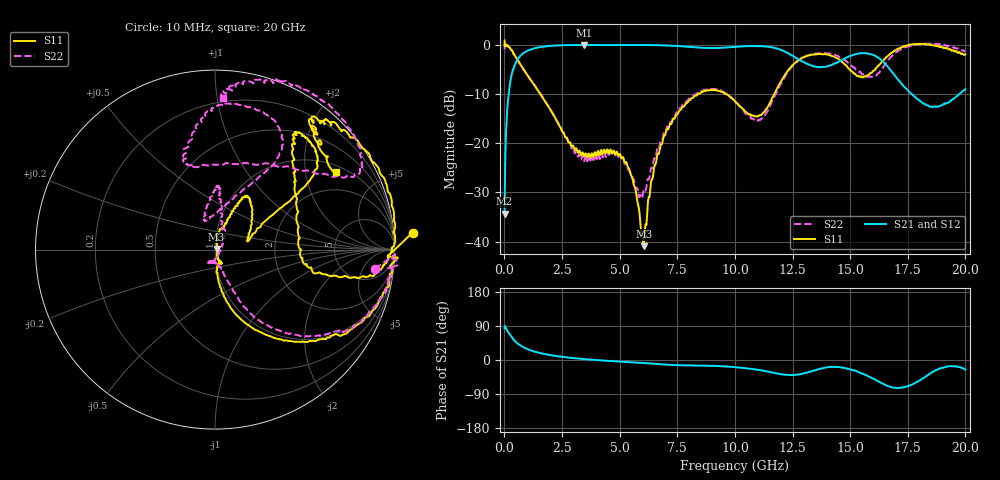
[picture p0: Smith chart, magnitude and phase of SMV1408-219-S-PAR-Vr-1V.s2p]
! Skyworks SMV1408-219 De-embedded S-Parameter Data
! Created  11-5-2013
! 2 Port Network Data
! Mounted on Board # SK41159-3 Rev 1 in Series, Cathode is connected to RF1 as Input( Pin 1) and Anode is connected RF2 as Output(Pin 2)
! Temperature = +25 °C
! RF traces and connectors are de-embedded using TRL calibration and standards
! Reference planes are package pins
! Pin 1 Input port (S-Port1), Pin 2 Output port (S-port2)
! Pin = 0 dBm, Bias: Vr = 1V
! Dev # 1
#  HZ  S  DB  R  50.00
! Rohde & Schwarz ZVA24 4Ports - Version 2.90 - 1145.1110k26 SN: 100216
! Date: 2013-11-05 15:24:14
! Measurements: S11 S21 S12 S22
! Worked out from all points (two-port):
!   2000 points, 10 MHz to 20 GHz, reference 50 ohm
!   highest |S21| = -0.06 dB at 3.44 GHz (marker M1); lowest = -34.3 dB at 10 MHz (marker M2)
!   |S21| within 3 dB of the highest: 565.9 MHz to 12.8 GHz (12.23 GHz wide, 183 % of centre); 14.67 GHz to 16.34 GHz (1.67 GHz wide, 10.8 % of centre)
!   lowest |S11| = -40.9 dB at 6.05 GHz (marker M3), VSWR 1.02, Z = 50.8 + j0.312 ohm
!   |S11| at or under -10 dB: 1.556 GHz to 8.411 GHz (6.854 GHz wide, 138 % of centre); 9.627 GHz to 11.72 GHz (2.089 GHz wide, 19.6 % of centre)
!   |S22| runs from -31.1 to 0.2 dB; largest |S21 - S12| = 0.034
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1e7  0.86 4.9  -34.32 84.0  -35.14 90.9  -0.94 -6.8
1.9e8  -0.40 -19.4  -9.79 71.2  -9.84 71.6  -0.44 -18.8
5.5e8  -2.90 -46.0  -3.17 44.9  -3.19 45.0  -2.90 -42.2
1.44e9  -9.19 -74.2  -0.59 20.1  -0.59 20.1  -9.05 -63.3
3.35e9  -22.29 -72.7  -0.06 3.0  -0.06 2.9  -23.01 -94.5
3.44e9  -22.56 -71.5  -0.06 2.5  -0.06 2.4  -23.51 -95.7
5.22e9  -23.93 -71.7  -0.06 -4.9  -0.08 -4.9  -24.18 -96.1
5.62e9  -28.56 -72.3  -0.06 -6.4  -0.07 -6.3  -27.47 -68.9
6.05e9  -40.94 20.0  -0.06 -8.0  -0.07 -8.0  -29.50 -1.7
6.68e9  -22.22 77.1  -0.11 -10.8  -0.11 -10.5  -21.20 57.4
8.2e9  -10.71 62.7  -0.49 -14.5  -0.51 -14.7  -10.42 85.7
1.001e10  -11.54 38.9  -0.42 -18.8  -0.43 -18.8  -11.53 98.1
1.107e10  -14.31 14.7  -0.30 -26.6  -0.30 -26.2  -15.26 104.6
1.223e10  -5.72 33.7  -1.54 -39.1  -1.54 -39.3  -5.98 57.6
1.334e10  -2.00 45.9  -4.27 -29.4  -4.27 -29.0  -1.96 67.6
1.438e10  -2.64 52.8  -3.74 -18.6  -3.74 -18.6  -2.16 91.5
1.55e10  -6.51 7.3  -1.72 -36.0  -1.73 -33.6  -5.95 108.5
1.604e10  -5.23 -11.1  -2.16 -50.4  -2.16 -50.1  -6.39 83.7
1.667e10  -2.11 -11.4  -4.69 -69.3  -4.68 -69.1  -3.09 37.4
1.767e10  -0.01 5.6  -9.99 -65.3  -9.99 -64.9  -0.12 34.9
1.889e10  -0.49 47.0  -12.44 -22.7  -12.43 -21.7  0.08 68.5
2e10  -1.95 32.6  -9.04 -25.2  -9.04 -24.7  -1.43 86.9
